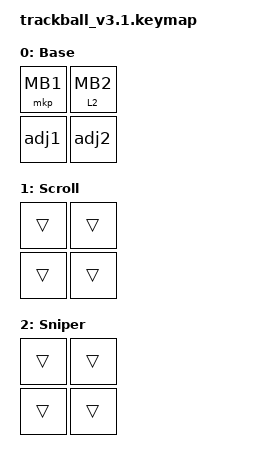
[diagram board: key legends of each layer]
#include "keys_ru.h"
#include <dt-bindings/zmk/input_transform.h>
#include <input/processors.dtsi>
#include <zephyr/dt-bindings/input/input-event-codes.h>
#include <dt-bindings/zmk/matrix_transform.h>
#include <scroll-snap.dtsi>
#include <behaviors.dtsi>
#include <dt-bindings/zmk/bt.h>
#include <dt-bindings/zmk/pointing.h>

/ {
    default_transform: keymap_transform_0 {
        compatible = "zmk,matrix-transform";
        columns = <2>;
        rows = <2>;
        map = <
        RC(0,3) RC(0,2)
        RC(0,5) RC(0,4)
        >;
    };

    combos {
        compatible = "zmk,combos";

        base_combo {
            bindings = <&hold_mo_tap_mkp 1 MB3>;
            key-positions = <0 1>;
        };
    };

    behaviors {
        adj1: adj1 {
            compatible = "zmk,behavior-tap-dance";
            label = "ADJ1";
            #binding-cells = <0>;
            bindings = <&bt BT_SEL 0>, <&bt BT_CLR>;
        };

        adj2: adj2 {
            compatible = "zmk,behavior-tap-dance";
            label = "ADJ2";
            #binding-cells = <0>;
            bindings = <&bt BT_NXT>, <&bt BT_CLR_ALL>;
        };

        hold_mo_tap_mkp: hold_mo_tap_mkp {
            compatible = "zmk,behavior-hold-tap";
            label = "HOLD_MO_TAP_MKP";
            bindings = <&mo>, <&mkp>;

            #binding-cells = <2>;
            tapping-term-ms = <175>;
            quick-tap-ms = <175>;
            require-prior-idle-ms = <100>;
            flavor = "balanced";
            hold-trigger-on-release;
        };
    };

    keymap {
        compatible = "zmk,keymap";

        base {
            bindings = <
&mkp MB1  &hold_mo_tap_mkp 2 MB2
&adj1     &adj2
            >;

            display-name = "Base";
        };

        scroll {
            bindings = <
&trans  &trans
&trans  &trans
            >;

            display-name = "Scroll";
        };

        sniper {
            bindings = <
&trans  &trans
&trans  &trans
            >;

            display-name = "Sniper";
        };
    };
};

&trackball { cpi = <1000>; };

&trackball_listener {
    input-processors = <&zip_xy_scaler 9 20>;

    scroller {
        layers = <1>;
        input-processors =
            <&zip_xy_transform INPUT_TRANSFORM_Y_INVERT>,
            <&zip_xy_scaler 1 32>,
            <&zip_xy_to_scroll_mapper>;
    };

    sniper {
        layers = <2>;
        input-processors = <&zip_xy_scaler 1 4>;
    };

    adjust {
        layers = <3>;
        input-processors = <&zip_xy_scaler 1 8>;
    };
};
